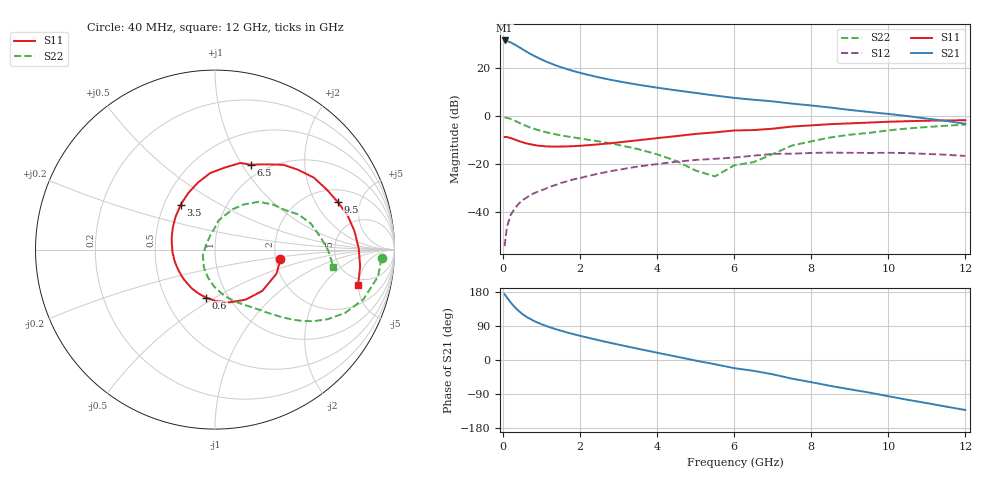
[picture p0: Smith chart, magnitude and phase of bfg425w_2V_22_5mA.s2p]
! Filename: 222bfg425.001
! BFG425W Field C1
! V1=8.645E-001V,V2=2.000E+000V, I1=3.197E-004A, I2=2.246E-002A
# GHz  S  MA  R 50
!  S11  S21  S12  S22
!Freq(GHz)  Mag  Ang  Mag  Ang  Mag  Ang  Mag  Ang
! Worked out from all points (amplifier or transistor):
!   44 points, 40 MHz to 12 GHz, reference 50 ohm
!   highest |S21| = 31.4 dB at 40 MHz (marker M1)
!   |S21| within 3 dB of that: start of sweep to 438 MHz
!   unconditionally stable (mu >= 1): 1.236 GHz to end of sweep
!   at 700 MHz: K = 0.78, MSG = 29.3 dB, |S12| = -32.8 dB
!   at 2.4 GHz: K = 1.16, MAG = 17.8 dB, |S12| = -24.2 dB
!   at 12 GHz: K = 1.34, MAG = 3.2 dB, |S12| = -16.5 dB
!   S11 on the Smith chart (normalised r, x): 40 MHz: 2.13, -0.27; 600 MHz: 0.79, -0.46; 3.5 GHz: 0.61, +0.34; 6.5 GHz: 0.85, +1.09; 9.5 GHz: 2.73, +3.12; 12 GHz: 4.14, -4.94
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0.04  0.369 -8.6  37.13 173.5  0.002 83.6  0.929 -3.0
0.1  0.368 -21.3  36.14 165.0  0.005 83.5  0.921 -9.3
0.2  0.35 -41.1  33.72 151.4  0.009 75.9  0.872 -18.5
0.3  0.327 -58.4  30.61 139.9  0.012 71.3  0.806 -26.0
0.4  0.305 -74.4  27.43 130.0  0.015 68.0  0.739 -31.7
0.5  0.287 -88.8  24.51 121.4  0.018 65.4  0.678 -36.0
0.6  0.272 -100.6  21.93 114.5  0.02 63.7  0.626 -39.4
0.7  0.261 -111.0  19.73 108.6  0.023 62.4  0.582 -42.1
0.8  0.252 -120.6  17.86 103.2  0.025 61.6  0.546 -44.2
0.9  0.244 -128.8  16.28 98.6  0.027 60.8  0.515 -46.2
1.2  0.234 -149.2  12.74 86.9  0.034 58.7  0.447 -51.1
1.6  0.234 -170.3  9.778 74.4  0.043 55.9  0.387 -56.8
2.2  0.249 165.8  7.189 58.9  0.057 50.0  0.324 -66.1
2.8  0.274 146.3  5.647 44.9  0.072 42.8  0.27 -76.7
3.5  0.315 127.3  4.487 29.7  0.09 33.2  0.207 -91.1
4.5  0.385 104.3  3.421 8.9  0.113 18.1  0.117 -122.0
5.5  0.46 83.3  2.67 -11.2  0.13 2.3  0.056 151.1
6.5  0.513 67.2  2.189 -28.6  0.151 -10.3  0.111 93.6
8.5  0.681 36.1  1.503 -68.4  0.175 -47.1  0.361 47.5
9.5  0.734 21.1  1.217 -85.8  0.172 -63.6  0.449 29.3
10.5  0.784 7.5  1.001 -105.0  0.171 -82.0  0.554 15.1
12  0.821 -13.7  0.692 -132.0  0.149 -111.3  0.667 -8.5
